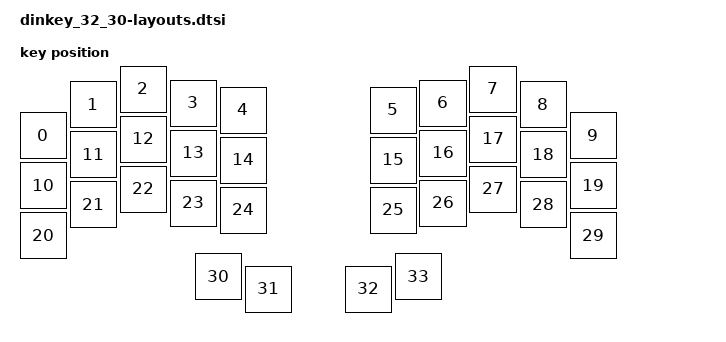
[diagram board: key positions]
/*
 * Copyright (c) 2023 Idle Builds
 *
 * SPDX-License-Identifier: MIT
 */

#include <physical_layouts.dtsi>

/ {
    dinkey_32_30_physical_layout: dinkey_32_30_physical_layout {
        compatible = "zmk,physical-layout";
        display-name = "Dinkey 32/30";
        keys
            //                     w    h     x     y    rot   rx   ry
            = <&key_physical_attrs 100  100     0    93      0     0     0>  //  0 Q
            , <&key_physical_attrs 100  100   100    31      0     0     0>  //  1 W
            , <&key_physical_attrs 100  100   200     0      0     0     0>  //  2 E
            , <&key_physical_attrs 100  100   300    28      0     0     0>  //  3 R
            , <&key_physical_attrs 100  100   400    42      0     0     0>  //  4 T
            , <&key_physical_attrs 100  100   700    42      0     0     0>  //  5 Y
            , <&key_physical_attrs 100  100   800    28      0     0     0>  //  6 U
            , <&key_physical_attrs 100  100   900     0      0     0     0>  //  7 I
            , <&key_physical_attrs 100  100  1000    31      0     0     0>  //  8 O
            , <&key_physical_attrs 100  100  1100    93      0     0     0>  //  9 P
            , <&key_physical_attrs 100  100     0   193      0     0     0>  // 10 A
            , <&key_physical_attrs 100  100   100   131      0     0     0>  // 11 S
            , <&key_physical_attrs 100  100   200   100      0     0     0>  // 12 D
            , <&key_physical_attrs 100  100   300   128      0     0     0>  // 13 F
            , <&key_physical_attrs 100  100   400   142      0     0     0>  // 14 G
            , <&key_physical_attrs 100  100   700   142      0     0     0>  // 15 H
            , <&key_physical_attrs 100  100   800   128      0     0     0>  // 16 J
            , <&key_physical_attrs 100  100   900   100      0     0     0>  // 17 K
            , <&key_physical_attrs 100  100  1000   131      0     0     0>  // 18 L
            , <&key_physical_attrs 100  100  1100   193      0     0     0>  // 19 ;
            , <&key_physical_attrs 100  100     0   293      0     0     0>  // 20 Z
            , <&key_physical_attrs 100  100   100   231      0     0     0>  // 21 X
            , <&key_physical_attrs 100  100   200   200      0     0     0>  // 22 C
            , <&key_physical_attrs 100  100   300   228      0     0     0>  // 23 V
            , <&key_physical_attrs 100  100   400   242      0     0     0>  // 24 B
            , <&key_physical_attrs 100  100   700   242      0     0     0>  // 25 N
            , <&key_physical_attrs 100  100   800   228      0     0     0>  // 26 M
            , <&key_physical_attrs 100  100   900   200      0     0     0>  // 27 ,
            , <&key_physical_attrs 100  100  1000   231      0     0     0>  // 28 .
            , <&key_physical_attrs 100  100  1100   293      0     0     0>  // 29 /
            , <&key_physical_attrs 100  100   350   375      0     0     0>  // 30 thumb L1
            , <&key_physical_attrs 100  100   450   400      0     0     0>  // 31 thumb LSH
            , <&key_physical_attrs 100  100   650   400      0     0     0>  // 32 thumb SPC
            , <&key_physical_attrs 100  100   750   375      0     0     0>  // 33 thumb BSP
            ;
    };
};
